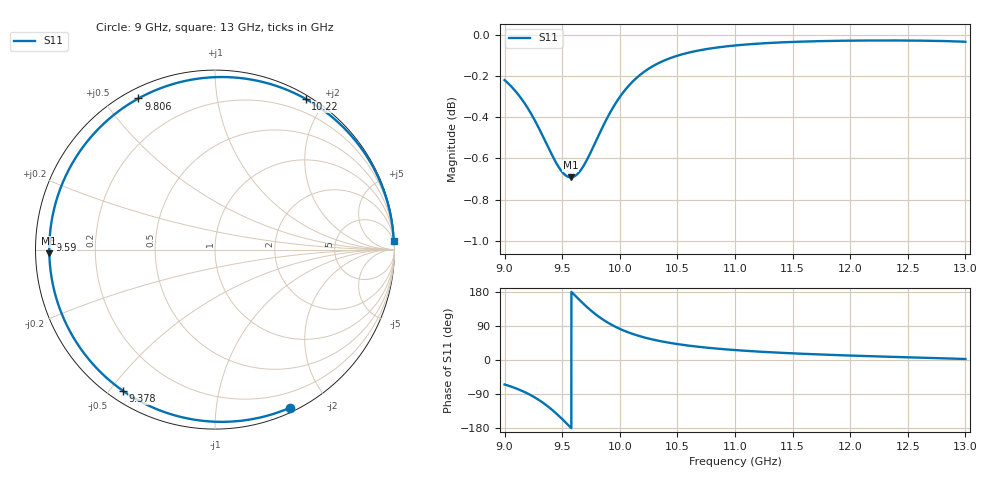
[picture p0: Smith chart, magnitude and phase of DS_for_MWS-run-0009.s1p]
! TOUCHSTONE file generated by CST DESIGN STUDIO
! Date and time: Tue Feb  4 12:45:51 2025
! Project name: C:\Work\MatlabApps\UnitCellOptimizationMatlab\CST\unitcell.cst
! Tree item: Tasks\Sweep1\SPara1\S-Parameters
! Header version: 2024
! Port assignment regex: !\s*Touchstone port\s*([0-9]+)\s*=\s*(CST MWS port|CST DES external port|CST DES block port)\s*(.+)\s* \(\"(.*)\"\)(\s*mode\s*([0-9]+))?.*
! Touchstone port assignment:
! Touchstone port 1 = CST DES external port 1 ("")
# GHz S MA R 50
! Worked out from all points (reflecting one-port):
!   4001 points, 9 GHz to 13 GHz, reference 50 ohm
!   lowest |S11| = -0.7 dB at 9.575 GHz (marker M1), VSWR 25.13, Z = 1.99 - j0.568 ohm
!   phase of S11 starts at -65 deg and turns -293 deg over the sweep
!   S11 on the Smith chart (normalised r, x): 9 GHz: 0.04, -1.58; 9.378 GHz: 0.04, -0.54; 9.59 GHz: 0.04, +0.03; 9.806 GHz: 0.04, +0.61; 10.22 GHz: 0.04, +1.77; 13 GHz: 3, +42
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9  0.9751 -64.7
9.045  0.9724 -69.0
9.113  0.9677 -76.6
9.229  0.957 -93.1
9.308  0.9479 -107.6
9.378  0.9391 -123.0
9.438  0.932 -138.3
9.5  0.9262 -155.9
9.538  0.9241 -167.3
9.575  0.9234 -178.7
9.59  0.9236 176.7
9.645  0.926 159.9
9.705  0.9314 142.5
9.755  0.9374 129.1
9.806  0.9441 116.9
9.848  0.9495 107.8
9.894  0.955 99.0
10  0.9659 82.2
10.105  0.9739 69.5
10.22  0.98 59.0
10.349  0.9848 50.0
10.5  0.9885 42.0
10.72  0.9918 33.6
11  0.9942 26.2
11.5  0.9961 17.6
12  0.9969 11.7
12.5  0.9969 7.1
13  0.9962 2.7
